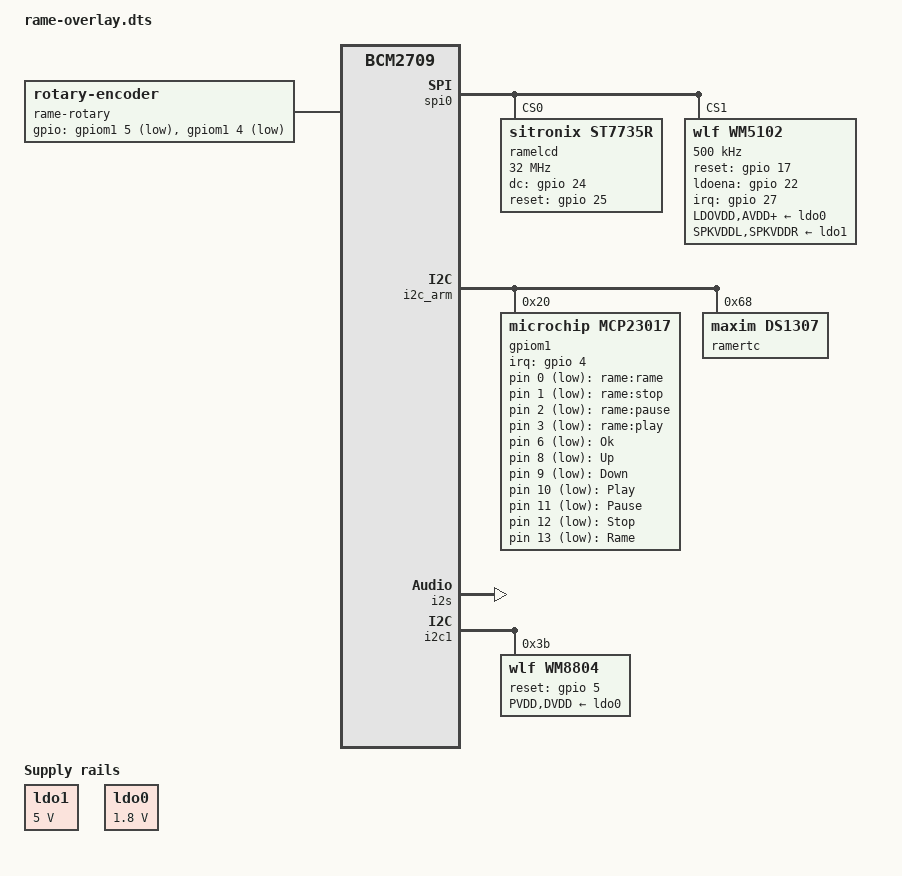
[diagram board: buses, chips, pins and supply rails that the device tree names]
// ---------------------------------------------------------------------------
// RamePlayer - combined device tree overlay for following components:
//
// CID3: "R2 Keys" buttons, leds, rotary (r2kbd)
// - MCP23017 setup based on:
//   - https://www.raspberrypi.org/forums/viewtopic.php?f=29&t=104638
// - Linux kernel patches required for modules:
//   - gpio_mcp23s08: support for "microchip,pullups"
//   - rotary_encoder: Fix for EPROBE_DEFER handling & threaded IRQ patch
//                     (for using GPIO expanders behind I2C or SPI bus).
//
// CID4: LCD screen ("red" Adafruit 1.8" ST7735R Color TFT LCD)
// - Based on pitft28 overlay, fbtft_device source and fb_st7735r source
// - Links:
//   https://github.com/notro/fbtft/blob/master/dts/rpi.dts
//   https://github.com/notro/fbtft/blob/master/fbtft_device.c#L180
//   https://github.com/notro/fbtft/blob/master/fb_st7735r.c
//
// CID5: Cirrus Logic Audio Card (WM5102,WM8804)
// - Definition is closely based on this overlay file:
//   https://github.com/HiassofT/rpi-linux/blob/cirrus-4.1.y/arch/arm/boot/dts/overlays/rpi-cirrus-wm5102-overlay.dts
//   (wlf,reset-gpio for wlf,wm8804 has been changed)
//
// CID6: Real-Time Clock (DS1307 I2C RTC)
// - Based on Linux kernel file: arch/arm/boot/dts/overlays/i2c-rtc-overlay.dts
//   - TinyRTC module w/EEPROM is connected to i2c0 on Raspberry Pi 2
//
// ---------------------------------------------------------------------------

/dts-v1/;
/plugin/;


/ {
	compatible = "brcm,bcm2709";  // Raspberry Pi 2


	// component ids
	fragment@0 {
		target-path = "/";
		__overlay__ {
			rame {
				cid3 = "r2kbd";
				cid4 = "lcd";
				cid5 = "audio";
				cid6 = "rtc";
			};
		}; // overlay
	}; // fragment


// ---------------------------------------------------------------------------

	// for LCD & Audio:
	fragment@1 {
		target = <&spi0>;  // /soc/spi0
		__overlay__ {
			spidev@0 {
				status = "disabled";
			};

			spidev@1 {
				status = "disabled";
			};
		}; // __overlay__
	}; // fragment

// ---------------------------------------------------------------------------

	/*
	 Rameplayer "R2 Keys" (r2kbd):
	+------------------------------------+
	|  Up                                |
	|  B5   L1    L2    L3    L4         |
	|                                    |
	|       B1    B2    B3    B4    B7   |
	|      Play Pause  Stop  Rame  (rot) |
	|  B6                                |
	| Down                               |
	+------------------------------------+
	L1...L4 = Leds
	B1...B7 = Buttons
	     B7 = Also a rotary
	*/

	// mcp23017 pin setup
	fragment@2 {
		target = <&gpio>;  // /soc/gpio

		__overlay__ {
			ramekbdio_pins: ramekbdio_pins {
				brcm,pins = <4>;
				brcm,function = <0>; // GPIO in
			};
		}; // __overlay__
	}; // fragment

	// mcp23017 IO expander setup
	fragment@3 {
		target = <&i2c_arm>;  // /soc/i2c0 or /soc/i2c1

		__overlay__ {
			status = "okay";
			#address-cells = <1>;
			#size-cells = <0>;

			gpiom1: ramekbdio@20 {
				compatible = "microchip,mcp23017";
				reg = <0x20>;

				gpio-controller;
				#gpio-cells = <2>;

				interrupt-parent = <&gpio>;
				// INTA->BCM GPIO4, IRQ_TYPE_LEVEL_LOW
				// http://lxr.free-electrons.com/source/include/dt-bindings/interrupt-controller/irq.h?v=4.1#L17
				interrupts = <4 8>;
				interrupt-controller;
				#interrupt-cells=<2>;

				microchip,irq-mirror; // IOCON,0x40
				microchip,pullups=<0xffff>; // patched kernel required

				status = "okay";
			}; // ramekbdio
		}; // __overlay__
	}; // fragment


	// 4 leds, L1...L4
	fragment@4 {
		target = <&leds>;  // /soc/leds

		__overlay__ {
			// http://lxr.free-electrons.com/source/include/dt-bindings/gpio/gpio.h?v=4.1

			// L4
			rame_4_rame {
				label = "rame:rame";
				gpios = <&gpiom1 0 1>; // GPA0 GPIO_ACTIVE_LOW
				default-state = "on";
			};

			// L3
			rame_3_stop {
				label = "rame:stop";
				gpios = <&gpiom1 1 1>; // GPA1 GPIO_ACTIVE_LOW
				default-state = "on";
			};

			// L2
			rame_2_pause {
				label = "rame:pause";
				gpios = <&gpiom1 2 1>; // GPA2 GPIO_ACTIVE_LOW
				default-state = "on";
			};

			// L1
			rame_1_play {
				label = "rame:play";
				gpios = <&gpiom1 3 1>; // GPA3 GPIO_ACTIVE_LOW
				default-state = "on";
			};
		}; // __overlay__
	}; // fragment


	// 7 buttons, B1...B7
	fragment@5 {
		target = <&soc>;  // /soc

		__overlay__ {
			rame-keys {
				compatible = "gpio-keys";
				#address-cells = <1>;
				#size-cells = <0>;
				status = "okay";

				// http://lxr.free-electrons.com/source/include/dt-bindings/input/input.h?v=4.1

				rame_7_rotarybutton {
					label = "Ok";
					linux,code = <0x160>; // KEY_OK (352)
					gpios = <&gpiom1 6 1>; // GPA6 GPIO_ACTIVE_LOW
				};

				rame_5_up {
					label = "Up";
					linux,code = <103>; // KEY_UP
					gpios = <&gpiom1 8 1>; // GPB0 GPIO_ACTIVE_LOW
				};

				rame_6_down {
					label = "Down";
					linux,code = <108>; // KEY_DOWN
					gpios = <&gpiom1 9 1>; // GPB1 GPIO_ACTIVE_LOW
				};

				rame_1_play {
					label = "Play";
					linux,code = <207>; // KEY_PLAY
					gpios = <&gpiom1 10 1>; // GPB2 GPIO_ACTIVE_LOW
				};

				rame_2_pause {
					label = "Pause";
					linux,code = <119>; // KEY_PAUSE
					gpios = <&gpiom1 11 1>; // GPB3 GPIO_ACTIVE_LOW
				};

				rame_3_stop {
					label = "Stop";
					linux,code = <128>; // KEY_STOP
					gpios = <&gpiom1 12 1>; // GPB4 GPIO_ACTIVE_LOW
				};

				rame_4_rame {
					label = "Rame";
					linux,code = <139>; // KEY_MENU
					gpios = <&gpiom1 13 1>; // GPB5 GPIO_ACTIVE_LOW
				};
			}; // rame-keys

			rame-rotary {
				compatible = "rotary-encoder";
				// patched kernel required:
				gpios = <&gpiom1 5 1>, <&gpiom1 4 1>; // GPA5,GPA4
				rotary-encoder,relative-axis;
				linux,axis = <0>; // REL_X
			}; // rame-rotary
		}; // __overlay__
	}; // fragment

// ---------------------------------------------------------------------------

	// LCD screen

	fragment@6 {
		target = <&gpio>;  // /soc/gpio

		__overlay__ {
			ramelcd_pins: ramelcd_pins {
				brcm,pins = <24 25>; // dc reset
				brcm,function = <1 1>;
				brcm,pull = <0 0>;
			};
		}; // __overlay__
	}; // fragment

	fragment@7 {
		target = <&spi0>;  // /soc/spi0

		__overlay__ {
			#address-cells = <1>;
			#size-cells = <0>;
			status = "okay";

			ramelcd: ramelcd@0 {
				compatible = "sitronix,st7735r";
				status = "okay";

				reg = <0>;
				pinctrl-names = "default";
				pinctrl-0 = <&ramelcd_pins>;

				spi-max-frequency = <32000000>;
				rotate = <270>;
				fps = <25>;
				buswidth = <8>;
				dc-gpios = <&gpio 24 0>;
				reset-gpios = <&gpio 25 0>;
				txbuflen = <32768>; // 32k dma
				debug = <0>;
				gamma = "02 1c 07 12 37 32 29 2d 29 25 2B 39 00 01 03 10\n03 1d 07 06 2E 2C 29 2D 2E 2E 37 3F 00 00 02 10";

			}; // ramelcd
		}; // __overlay__
	}; // fragment

// ---------------------------------------------------------------------------

	// RTC (DS1307)

	fragment@8 {
		target = <&i2c_arm>;
		__overlay__ {
			#address-cells = <1>;
			#size-cells = <0>;
			status = "okay";

			ramertc: ramertc@68 {
				compatible = "maxim,ds1307";
				reg = <0x68>;
				status = "okay";
			};
		}; // __overlay__
	}; // fragment

// ---------------------------------------------------------------------------
	// Cirrus Logic Audio Card

	fragment@9 {
		target-path = "/";
		__overlay__ {
			aliases {
				ldo0 = &ldo0;
				ldo1 = &ldo1;
			};
		}; // __overlay__
	}; // fragment

	fragment@10 {
		target = <&sound>;  // /sound
		__overlay__ {
			compatible = "wlf,rpi-wm5102";
			i2s-controller = <&i2s>;
			status = "okay";
		}; // __overlay__
	}; // fragment

	fragment@11 {
		target = <&i2s>;  // /soc/i2s
		__overlay__ {
			status = "okay";
		}; // __overlay__
	}; // fragment

	fragment@12 {
		target = <&gpio>;  // /soc/gpio
		__overlay__ {
			wlf_pins: wlf_pins {
				//brcm,pins = <17 22 27 8>; // original
				brcm,pins = <17 22 27 5>; // changed PIN
				brcm,function = <1 1 0 1>;
			};
		}; // __overlay__
	}; // fragment

	fragment@13 {
		target-path = "/soc";
		__overlay__ {

			ldo1: ldo1 {
				compatible = "regulator-fixed";
				regulator-name = "DC_5V";
				regulator-min-microvolt = <5000000>;
				regulator-max-microvolt = <5000000>;
				enable-active-high;
				regulator-always-on;
			};

			ldo0: ldo0 {
				compatible = "regulator-fixed";
				regulator-name = "DC_1V8";
				regulator-min-microvolt = <1800000>;
				regulator-max-microvolt = <1800000>;
				enable-active-high;
				regulator-always-on;
			};
		}; // __overlay__
	}; // fragment

	fragment@14 {
		target = <&spi0>;  // /soc/spi0
		__overlay__ {
			#address-cells = <1>;
			#size-cells = <0>;
			status = "okay";

			wm5102@1{
				compatible = "wlf,wm5102";
				reg = <1>;
				#address-cells = <1>;
				#size-cells = <0>;
				spi-max-frequency = <500000>;

				interrupt-parent = <&gpio>;
				interrupts = <27 8>;

				LDOVDD-supply = <&ldo0>;
				AVDD-supply = <&ldo0>;
				DBVDD1-supply = <&ldo0>;
				DBVDD2-supply = <&ldo0>;
				DBVDD3-supply = <&ldo0>;
				CPVDD-supply = <&ldo0>;
				SPKVDDL-supply = <&ldo1>;
				SPKVDDR-supply = <&ldo1>;

				wlf,reset = <&gpio 17 0>;
				wlf,ldoena = <&gpio 22 0>;
				wlf,gpio-defaults = <
					0x000fffff
					0x000fffff
					0x000fffff
					0x000fffff
					0x000fffff
				>;
				wlf,micd-configs = <0 1 0>;
				wlf,dmic-ref = <0 2 0 0>;
				wlf,clk32k-src = <3>;
				wlf,inmode = <0 2 1 0>;
				status = "okay";
			};
		}; // __overlay__
	}; // fragment

	fragment@15 {
		target = <&i2c1>;  // /soc/i2c1
		__overlay__ {
			status = "okay";
			#address-cells = <1>;
			#size-cells = <0>;

			wm8804@3b {
				#sound-dai-cells = <0>;
				compatible = "wlf,wm8804";
				reg = <0x3b>;
				status = "okay";
				PVDD-supply = <&ldo0>;
				DVDD-supply = <&ldo0>;
				//wlf,reset-gpio = <&gpio 8 0>; // original
				wlf,reset-gpio = <&gpio 5 0>; // changed PIN
			};
		}; // __overlay__
	}; // fragment

// ---------------------------------------------------------------------------

}; // /
